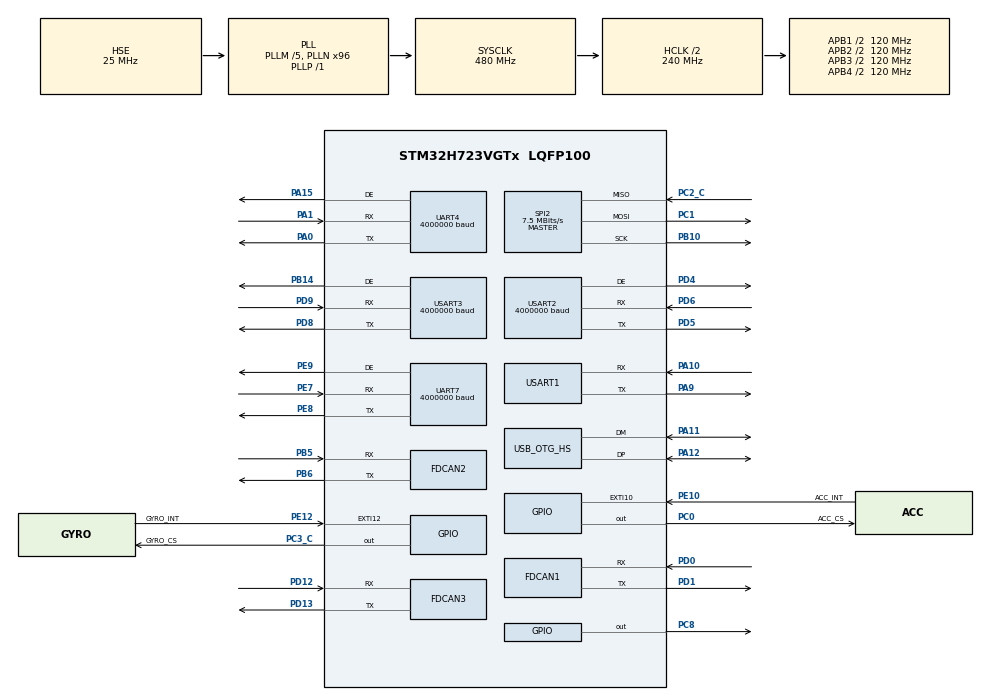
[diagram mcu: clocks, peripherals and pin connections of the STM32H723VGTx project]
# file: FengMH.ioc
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CORTEX_M7.default_mode_Activation=1
Dma.Request0=USART1_RX
Dma.Request1=USART1_TX
Dma.Request2=USART2_RX
Dma.Request3=USART2_TX
Dma.Request4=USART3_RX
Dma.Request5=USART3_TX
Dma.Request6=UART7_RX
Dma.Request7=UART7_TX
Dma.Request8=UART4_RX
Dma.Request9=UART4_TX
Dma.UART4_RX.8.Direction=DMA_PERIPH_TO_MEMORY
Dma.UART4_RX.8.EventEnable=DISABLE
Dma.UART4_RX.8.FIFOMode=DMA_FIFOMODE_DISABLE
Dma.UART4_RX.8.Instance=DMA2_Stream0
Dma.UART4_RX.8.MemDataAlignment=DMA_MDATAALIGN_BYTE
Dma.UART4_RX.8.MemInc=DMA_MINC_ENABLE
Dma.UART4_RX.8.Mode=DMA_NORMAL
Dma.UART4_RX.8.PeriphDataAlignment=DMA_PDATAALIGN_BYTE
Dma.UART4_RX.8.PeriphInc=DMA_PINC_DISABLE
Dma.UART4_RX.8.Polarity=HAL_DMAMUX_REQ_GEN_RISING
Dma.UART4_RX.8.Priority=DMA_PRIORITY_LOW
Dma.UART4_RX.8.RequestNumber=1
Dma.UART4_RX.8.SignalID=NONE
Dma.UART4_RX.8.SyncEnable=DISABLE
Dma.UART4_RX.8.SyncPolarity=HAL_DMAMUX_SYNC_NO_EVENT
Dma.UART4_RX.8.SyncRequestNumber=1
Dma.UART4_RX.8.SyncSignalID=NONE
Dma.UART4_TX.9.Direction=DMA_MEMORY_TO_PERIPH
Dma.UART4_TX.9.EventEnable=DISABLE
Dma.UART4_TX.9.FIFOMode=DMA_FIFOMODE_DISABLE
Dma.UART4_TX.9.Instance=DMA2_Stream1
Dma.UART4_TX.9.MemDataAlignment=DMA_MDATAALIGN_BYTE
Dma.UART4_TX.9.MemInc=DMA_MINC_ENABLE
Dma.UART4_TX.9.Mode=DMA_NORMAL
Dma.UART4_TX.9.PeriphDataAlignment=DMA_PDATAALIGN_BYTE
Dma.UART4_TX.9.PeriphInc=DMA_PINC_DISABLE
Dma.UART4_TX.9.Polarity=HAL_DMAMUX_REQ_GEN_RISING
Dma.UART4_TX.9.Priority=DMA_PRIORITY_LOW
Dma.UART4_TX.9.RequestNumber=1
Dma.UART4_TX.9.SignalID=NONE
Dma.UART4_TX.9.SyncEnable=DISABLE
Dma.UART4_TX.9.SyncPolarity=HAL_DMAMUX_SYNC_NO_EVENT
Dma.UART4_TX.9.SyncRequestNumber=1
Dma.UART4_TX.9.SyncSignalID=NONE
Dma.UART7_RX.6.Direction=DMA_PERIPH_TO_MEMORY
Dma.UART7_RX.6.EventEnable=DISABLE
Dma.UART7_RX.6.FIFOMode=DMA_FIFOMODE_DISABLE
Dma.UART7_RX.6.Instance=DMA1_Stream6
Dma.UART7_RX.6.MemDataAlignment=DMA_MDATAALIGN_BYTE
Dma.UART7_RX.6.MemInc=DMA_MINC_ENABLE
Dma.UART7_RX.6.Mode=DMA_NORMAL
Dma.UART7_RX.6.PeriphDataAlignment=DMA_PDATAALIGN_BYTE
Dma.UART7_RX.6.PeriphInc=DMA_PINC_DISABLE
Dma.UART7_RX.6.Polarity=HAL_DMAMUX_REQ_GEN_RISING
Dma.UART7_RX.6.Priority=DMA_PRIORITY_LOW
Dma.UART7_RX.6.RequestNumber=1
Dma.UART7_RX.6.SignalID=NONE
Dma.UART7_RX.6.SyncEnable=DISABLE
Dma.UART7_RX.6.SyncPolarity=HAL_DMAMUX_SYNC_NO_EVENT
Dma.UART7_RX.6.SyncRequestNumber=1
Dma.UART7_RX.6.SyncSignalID=NONE
Dma.UART7_TX.7.Direction=DMA_MEMORY_TO_PERIPH
Dma.UART7_TX.7.EventEnable=DISABLE
Dma.UART7_TX.7.FIFOMode=DMA_FIFOMODE_DISABLE
Dma.UART7_TX.7.Instance=DMA1_Stream7
Dma.UART7_TX.7.MemDataAlignment=DMA_MDATAALIGN_BYTE
Dma.UART7_TX.7.MemInc=DMA_MINC_ENABLE
Dma.UART7_TX.7.Mode=DMA_NORMAL
Dma.UART7_TX.7.PeriphDataAlignment=DMA_PDATAALIGN_BYTE
Dma.UART7_TX.7.PeriphInc=DMA_PINC_DISABLE
Dma.UART7_TX.7.Polarity=HAL_DMAMUX_REQ_GEN_RISING
Dma.UART7_TX.7.Priority=DMA_PRIORITY_LOW
Dma.UART7_TX.7.RequestNumber=1
Dma.UART7_TX.7.SignalID=NONE
Dma.UART7_TX.7.SyncEnable=DISABLE
Dma.UART7_TX.7.SyncPolarity=HAL_DMAMUX_SYNC_NO_EVENT
Dma.UART7_TX.7.SyncRequestNumber=1
Dma.UART7_TX.7.SyncSignalID=NONE
Dma.USART1_RX.0.Direction=DMA_PERIPH_TO_MEMORY
Dma.USART1_RX.0.EventEnable=DISABLE
Dma.USART1_RX.0.FIFOMode=DMA_FIFOMODE_DISABLE
Dma.USART1_RX.0.Instance=DMA1_Stream0
Dma.USART1_RX.0.MemDataAlignment=DMA_MDATAALIGN_BYTE
Dma.USART1_RX.0.MemInc=DMA_MINC_ENABLE
Dma.USART1_RX.0.Mode=DMA_NORMAL
Dma.USART1_RX.0.PeriphDataAlignment=DMA_PDATAALIGN_BYTE
Dma.USART1_RX.0.PeriphInc=DMA_PINC_DISABLE
Dma.USART1_RX.0.Polarity=HAL_DMAMUX_REQ_GEN_RISING
Dma.USART1_RX.0.Priority=DMA_PRIORITY_LOW
Dma.USART1_RX.0.RequestNumber=1
Dma.USART1_RX.0.SignalID=NONE
Dma.USART1_RX.0.SyncEnable=DISABLE
Dma.USART1_RX.0.SyncPolarity=HAL_DMAMUX_SYNC_NO_EVENT
Dma.USART1_RX.0.SyncRequestNumber=1
Dma.USART1_RX.0.SyncSignalID=NONE
Dma.USART1_TX.1.Direction=DMA_MEMORY_TO_PERIPH
Dma.USART1_TX.1.EventEnable=DISABLE
Dma.USART1_TX.1.FIFOMode=DMA_FIFOMODE_DISABLE
Dma.USART1_TX.1.Instance=DMA1_Stream1
Dma.USART1_TX.1.MemDataAlignment=DMA_MDATAALIGN_BYTE
Dma.USART1_TX.1.MemInc=DMA_MINC_ENABLE
Dma.USART1_TX.1.Mode=DMA_NORMAL
Dma.USART1_TX.1.PeriphDataAlignment=DMA_PDATAALIGN_BYTE
Dma.USART1_TX.1.PeriphInc=DMA_PINC_DISABLE
Dma.USART1_TX.1.Polarity=HAL_DMAMUX_REQ_GEN_RISING
Dma.USART1_TX.1.Priority=DMA_PRIORITY_LOW
Dma.USART1_TX.1.RequestNumber=1
Dma.USART1_TX.1.SignalID=NONE
Dma.USART1_TX.1.SyncEnable=DISABLE
Dma.USART1_TX.1.SyncPolarity=HAL_DMAMUX_SYNC_NO_EVENT
Dma.USART1_TX.1.SyncRequestNumber=1
Dma.USART1_TX.1.SyncSignalID=NONE
Dma.USART2_RX.2.Direction=DMA_PERIPH_TO_MEMORY
Dma.USART2_RX.2.EventEnable=DISABLE
Dma.USART2_RX.2.FIFOMode=DMA_FIFOMODE_DISABLE
Dma.USART2_RX.2.Instance=DMA1_Stream2
Dma.USART2_RX.2.MemDataAlignment=DMA_MDATAALIGN_BYTE
Dma.USART2_RX.2.MemInc=DMA_MINC_ENABLE
Dma.USART2_RX.2.Mode=DMA_NORMAL
Dma.USART2_RX.2.PeriphDataAlignment=DMA_PDATAALIGN_BYTE
Dma.USART2_RX.2.PeriphInc=DMA_PINC_DISABLE
Dma.USART2_RX.2.Polarity=HAL_DMAMUX_REQ_GEN_RISING
Dma.USART2_RX.2.Priority=DMA_PRIORITY_LOW
Dma.USART2_RX.2.RequestNumber=1
Dma.USART2_RX.2.SignalID=NONE
Dma.USART2_RX.2.SyncEnable=DISABLE
Dma.USART2_RX.2.SyncPolarity=HAL_DMAMUX_SYNC_NO_EVENT
Dma.USART2_RX.2.SyncRequestNumber=1
Dma.USART2_RX.2.SyncSignalID=NONE
Dma.USART2_TX.3.Direction=DMA_MEMORY_TO_PERIPH
Dma.USART2_TX.3.EventEnable=DISABLE
Dma.USART2_TX.3.FIFOMode=DMA_FIFOMODE_DISABLE
Dma.USART2_TX.3.Instance=DMA1_Stream3
Dma.USART2_TX.3.MemDataAlignment=DMA_MDATAALIGN_BYTE
Dma.USART2_TX.3.MemInc=DMA_MINC_ENABLE
Dma.USART2_TX.3.Mode=DMA_NORMAL
Dma.USART2_TX.3.PeriphDataAlignment=DMA_PDATAALIGN_BYTE
Dma.USART2_TX.3.PeriphInc=DMA_PINC_DISABLE
Dma.USART2_TX.3.Polarity=HAL_DMAMUX_REQ_GEN_RISING
Dma.USART2_TX.3.Priority=DMA_PRIORITY_LOW
Dma.USART2_TX.3.RequestNumber=1
Dma.USART2_TX.3.SignalID=NONE
Dma.USART2_TX.3.SyncEnable=DISABLE
Dma.USART2_TX.3.SyncPolarity=HAL_DMAMUX_SYNC_NO_EVENT
Dma.USART2_TX.3.SyncRequestNumber=1
Dma.USART2_TX.3.SyncSignalID=NONE
Dma.USART3_RX.4.Direction=DMA_PERIPH_TO_MEMORY
Dma.USART3_RX.4.EventEnable=DISABLE
Dma.USART3_RX.4.FIFOMode=DMA_FIFOMODE_DISABLE
Dma.USART3_RX.4.Instance=DMA1_Stream4
Dma.USART3_RX.4.MemDataAlignment=DMA_MDATAALIGN_BYTE
Dma.USART3_RX.4.MemInc=DMA_MINC_ENABLE
Dma.USART3_RX.4.Mode=DMA_NORMAL
Dma.USART3_RX.4.PeriphDataAlignment=DMA_PDATAALIGN_BYTE
Dma.USART3_RX.4.PeriphInc=DMA_PINC_DISABLE
Dma.USART3_RX.4.Polarity=HAL_DMAMUX_REQ_GEN_RISING
Dma.USART3_RX.4.Priority=DMA_PRIORITY_LOW
Dma.USART3_RX.4.RequestNumber=1
Dma.USART3_RX.4.SignalID=NONE
Dma.USART3_RX.4.SyncEnable=DISABLE
Dma.USART3_RX.4.SyncPolarity=HAL_DMAMUX_SYNC_NO_EVENT
Dma.USART3_RX.4.SyncRequestNumber=1
Dma.USART3_RX.4.SyncSignalID=NONE
Dma.USART3_TX.5.Direction=DMA_MEMORY_TO_PERIPH
Dma.USART3_TX.5.EventEnable=DISABLE
Dma.USART3_TX.5.FIFOMode=DMA_FIFOMODE_DISABLE
Dma.USART3_TX.5.Instance=DMA1_Stream5
Dma.USART3_TX.5.MemDataAlignment=DMA_MDATAALIGN_BYTE
Dma.USART3_TX.5.MemInc=DMA_MINC_ENABLE
Dma.USART3_TX.5.Mode=DMA_NORMAL
Dma.USART3_TX.5.PeriphDataAlignment=DMA_PDATAALIGN_BYTE
Dma.USART3_TX.5.PeriphInc=DMA_PINC_DISABLE
Dma.USART3_TX.5.Polarity=HAL_DMAMUX_REQ_GEN_RISING
Dma.USART3_TX.5.Priority=DMA_PRIORITY_LOW
Dma.USART3_TX.5.RequestNumber=1
Dma.USART3_TX.5.SignalID=NONE
Dma.USART3_TX.5.SyncEnable=DISABLE
Dma.USART3_TX.5.SyncPolarity=HAL_DMAMUX_SYNC_NO_EVENT
Dma.USART3_TX.5.SyncRequestNumber=1
Dma.USART3_TX.5.SyncSignalID=NONE
FDCAN1.CalculateBaudRateNominal=1000000
FDCAN1.CalculateTimeBitNominal=1000
FDCAN1.CalculateTimeQuantumNominal=25.0
FDCAN1.DataPrescaler=3
FDCAN1.DataSyncJumpWidth=10
FDCAN1.DataTimeSeg1=29
FDCAN1.DataTimeSeg2=10
FDCAN1.ExtFiltersNbr=0
FDCAN1.NominalPrescaler=3
FDCAN1.NominalSyncJumpWidth=10
FDCAN1.NominalTimeSeg1=29
FDCAN1.NominalTimeSeg2=10
FDCAN1.ProtocolException=ENABLE
FDCAN1.RxFifo0ElmtsNbr=4
FDCAN1.StdFiltersNbr=1
FDCAN1.TxFifoQueueElmtsNbr=4
FDCAN2.CalculateBaudRateNominal=1000000
FDCAN2.CalculateTimeBitNominal=1000
FDCAN2.CalculateTimeQuantumNominal=25.0
FDCAN2.DataPrescaler=3
FDCAN2.DataSyncJumpWidth=10
FDCAN2.DataTimeSeg1=29
FDCAN2.DataTimeSeg2=10
FDCAN2.NominalPrescaler=3
FDCAN2.NominalSyncJumpWidth=10
FDCAN2.NominalTimeSeg1=29
FDCAN2.NominalTimeSeg2=10
FDCAN2.ProtocolException=ENABLE
FDCAN2.RxFifo0ElmtsNbr=4
FDCAN2.StdFiltersNbr=1
FDCAN2.TxFifoQueueElmtsNbr=4
FDCAN3.CalculateBaudRateNominal=1000000
FDCAN3.CalculateTimeBitNominal=1000
FDCAN3.CalculateTimeQuantumNominal=25.0
FDCAN3.DataPrescaler=3
FDCAN3.DataSyncJumpWidth=10
FDCAN3.DataTimeSeg1=29
FDCAN3.DataTimeSeg2=10
FDCAN3.NominalPrescaler=3
FDCAN3.NominalSyncJumpWidth=10
FDCAN3.NominalTimeSeg1=29
FDCAN3.NominalTimeSeg2=10
FDCAN3.RxFifo0ElmtsNbr=4
FDCAN3.StdFiltersNbr=1
FDCAN3.TxFifoQueueElmtsNbr=4
FREERTOS.Tasks01=defaultTask,24,1024,StartDefaultTask,Default,NULL,Dynamic,NULL,NULL
FREERTOS.configTOTAL_HEAP_SIZE=65536
FREERTOS.configUSE_NEWLIB_REENTRANT=1
Mcu.Family=STM32H7
Mcu.Name=STM32H723VGTx
Mcu.Package=LQFP100
NVIC.DMA1_Stream0_IRQn=true\:5\:0\:false\:false\:true\:true\:false\:true\:true
NVIC.DMA1_Stream1_IRQn=true\:5\:0\:false\:false\:true\:true\:false\:true\:true
NVIC.DMA1_Stream2_IRQn=true\:5\:0\:false\:false\:true\:true\:false\:true\:true
NVIC.DMA1_Stream3_IRQn=true\:5\:0\:false\:false\:true\:true\:false\:true\:true
NVIC.DMA1_Stream4_IRQn=true\:5\:0\:false\:false\:true\:true\:false\:true\:true
NVIC.DMA1_Stream5_IRQn=true\:5\:0\:false\:false\:true\:true\:false\:true\:true
NVIC.DMA1_Stream6_IRQn=true\:5\:0\:false\:false\:true\:true\:false\:true\:true
NVIC.DMA1_Stream7_IRQn=true\:5\:0\:false\:false\:true\:true\:false\:true\:true
NVIC.DMA2_Stream0_IRQn=true\:5\:0\:false\:false\:true\:true\:false\:true\:true
NVIC.DMA2_Stream1_IRQn=true\:5\:0\:false\:false\:true\:true\:false\:true\:true
NVIC.FDCAN1_IT0_IRQn=true\:5\:0\:false\:false\:true\:true\:true\:true\:true
NVIC.FDCAN2_IT0_IRQn=true\:5\:0\:false\:false\:true\:true\:true\:true\:true
NVIC.OTG_HS_IRQn=true\:5\:0\:false\:false\:true\:true\:false\:true\:true
NVIC.PriorityGroup=NVIC_PRIORITYGROUP_4
NVIC.TIM1_UP_IRQn=true\:15\:0\:false\:false\:true\:false\:false\:true\:true
NVIC.TimeBase=TIM1_UP_IRQn
NVIC.TimeBaseIP=TIM1
NVIC.UART4_IRQn=true\:5\:0\:false\:false\:true\:true\:true\:true\:true
NVIC.UART7_IRQn=true\:5\:0\:false\:false\:true\:true\:true\:true\:true
NVIC.USART1_IRQn=true\:5\:0\:false\:false\:true\:true\:true\:true\:true
NVIC.USART2_IRQn=true\:5\:0\:false\:false\:true\:true\:true\:true\:true
NVIC.USART3_IRQn=true\:5\:0\:false\:false\:true\:true\:true\:true\:true
PA0.Mode=Asynchronous
PA0.Signal=UART4_TX
PA1.Mode=Asynchronous
PA1.Signal=UART4_RX
PA10.Mode=Asynchronous
PA10.Signal=USART1_RX
PA11.Mode=Device_Only_FS
PA11.Signal=USB_OTG_HS_DM
PA12.Mode=Device_Only_FS
PA12.Signal=USB_OTG_HS_DP
PA13(JTMS/SWDIO).Signal=DEBUG_JTMS-SWDIO
PA14(JTCK/SWCLK).Signal=DEBUG_JTCK-SWCLK
PA15(JTDI).Mode=Hardware Flow Control (RS485)
PA15(JTDI).Signal=UART4_DE
PA9.Mode=Asynchronous
PA9.Signal=USART1_TX
PB10.GPIO_Speed=GPIO_SPEED_FREQ_VERY_HIGH
PB10.Mode=Full_Duplex_Master
PB10.Signal=SPI2_SCK
PB14.Mode=Hardware Flow Control (RS485)
PB14.Signal=USART3_DE
PB5.Mode=FDCAN_Activate
PB5.Signal=FDCAN2_RX
PB6.Mode=FDCAN_Activate
PB6.Signal=FDCAN2_TX
PC0.GPIO_Label=ACC_CS
PC0.GPIO_Speed=GPIO_SPEED_FREQ_VERY_HIGH
PC0.PinState=GPIO_PIN_SET
PC0.Signal=GPIO_Output
PC1.GPIO_Speed=GPIO_SPEED_FREQ_VERY_HIGH
PC1.Mode=Full_Duplex_Master
PC1.Signal=SPI2_MOSI
PC2_C.GPIO_Speed=GPIO_SPEED_FREQ_VERY_HIGH
PC2_C.Mode=Full_Duplex_Master
PC2_C.Signal=SPI2_MISO
PC3_C.GPIO_Label=GYRO_CS
PC3_C.GPIO_Speed=GPIO_SPEED_FREQ_VERY_HIGH
PC3_C.PinState=GPIO_PIN_SET
PC3_C.Signal=GPIO_Output
PC8.GPIO_PuPd=GPIO_PULLDOWN
PC8.Signal=GPIO_Output
PD0.Mode=FDCAN_Activate
PD0.Signal=FDCAN1_RX
PD1.Mode=FDCAN_Activate
PD1.Signal=FDCAN1_TX
PD12.Mode=FDCAN_Activate
PD12.Signal=FDCAN3_RX
PD13.Mode=FDCAN_Activate
PD13.Signal=FDCAN3_TX
PD4.Mode=Hardware Flow Control (RS485)
PD4.Signal=USART2_DE
PD5.Mode=Asynchronous
PD5.Signal=USART2_TX
PD6.Mode=Asynchronous
PD6.Signal=USART2_RX
PD8.Mode=Asynchronous
PD8.Signal=USART3_TX
PD9.Mode=Asynchronous
PD9.Signal=USART3_RX
PE10.GPIO_Label=ACC_INT
PE10.Signal=GPXTI10
PE12.GPIO_Label=GYRO_INT
PE12.Signal=GPXTI12
PE7.Mode=Asynchronous
PE7.Signal=UART7_RX
PE8.Mode=Asynchronous
PE8.Signal=UART7_TX
PE9.Mode=Hardware Flow Control (RS485)
PE9.Signal=UART7_DE
PH0-OSC_IN.Mode=HSE-External-Oscillator
PH0-OSC_IN.Signal=RCC_OSC_IN
PH1-OSC_OUT.Mode=HSE-External-Oscillator
PH1-OSC_OUT.Signal=RCC_OSC_OUT
ProjectManager.HeapSize=0x200
ProjectManager.StackSize=0x400
ProjectManager.TargetToolchain=STM32CubeIDE
RCC.ADCFreq_Value=100000000
RCC.APB1Freq_Value=120000000
RCC.APB2Freq_Value=120000000
RCC.APB3Freq_Value=120000000
RCC.APB4Freq_Value=120000000
RCC.CortexFreq_Value=480000000
RCC.D1PPRE=RCC_APB3_DIV2
RCC.D2PPRE1=RCC_APB1_DIV2
RCC.D2PPRE2=RCC_APB2_DIV2
RCC.D3PPRE=RCC_APB4_DIV2
RCC.DIVM1=5
RCC.DIVM2=25
RCC.DIVM3=25
RCC.DIVN1=96
RCC.DIVN2=200
RCC.DIVN3=100
RCC.DIVP1=1
RCC.DIVQ1=4
RCC.HCLKFreq_Value=240000000
RCC.HPRE=RCC_HCLK_DIV2
RCC.HSE_VALUE=25000000
RCC.PLL1_VCI_Range-AdvancedSettings=RCC_PLL1VCIRANGE_2
RCC.PLL2FRACN=0
RCC.PLL2_VCI_Range-AdvancedSettings=RCC_PLL2VCIRANGE_0
RCC.PLL3FRACN=0
RCC.PLL3_VCI_Range-AdvancedSettings=RCC_PLL3VCIRANGE_0
RCC.PLLFRACN=0
RCC.PLLSourceVirtual=RCC_PLLSOURCE_HSE
RCC.SYSCLKFreq_VALUE=480000000
RCC.SYSCLKSource=RCC_SYSCLKSOURCE_PLLCLK
RCC.USBCLockSelection=RCC_USBCLKSOURCE_HSI48
RCC.USBFreq_Value=48000000
SPI2.BaudRatePrescaler=SPI_BAUDRATEPRESCALER_16
SPI2.CLKPhase=SPI_PHASE_1EDGE
SPI2.CLKPolarity=SPI_POLARITY_LOW
SPI2.CalculateBaudRate=7.5 MBits/s
SPI2.DataSize=SPI_DATASIZE_8BIT
SPI2.Direction=SPI_DIRECTION_2LINES
SPI2.Mode=SPI_MODE_MASTER
SPI2.VirtualType=VM_MASTER
STMicroelectronics.X-CUBE-ALGOBUILD.1.4.0.LibraryCcDSPOoLibraryJjDSPOoLibrary=true
TIM2.AutoReloadPreload=TIM_AUTORELOAD_PRELOAD_ENABLE
TIM2.Period=99
TIM2.Prescaler=11999
UART4.BaudRate=4000000
UART7.BaudRate=4000000
USART1.VirtualMode-Asynchronous=VM_ASYNC
USART2.BaudRate=4000000
USART2.VirtualMode-Asynchronous=VM_ASYNC
USART2.VirtualMode-Hardware\ Flow\ Control\ (RS485)=VM_ASYNC
USART3.BaudRate=4000000
USART3.VirtualMode-Asynchronous=VM_ASYNC
USART3.VirtualMode-Hardware\ Flow\ Control\ (RS485)=VM_ASYNC
USB_DEVICE.CLASS_NAME_HS=CDC
USB_DEVICE.VirtualMode=Cdc
USB_DEVICE.VirtualModeHS=Cdc_HS
USB_OTG_HS.VirtualMode-Device_Only_FS=Device_Only_FS
VP_FREERTOS_VS_CMSIS_V2.Mode=CMSIS_V2
VP_MEMORYMAP_VS_MEMORYMAP.Mode=CurAppReg
VP_STMicroelectronics.X-CUBE-ALGOBUILD_VS_DSPOoLibraryJjLibrary_1.4.0_1.4.0.Mode=DSPOoLibraryJjLibrary
VP_SYS_VS_tim1.Mode=TIM1
VP_TIM2_VS_ClockSourceINT.Mode=Internal
VP_USB_DEVICE_VS_USB_DEVICE_CDC_HS.Mode=CDC_HS
board=custom

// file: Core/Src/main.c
/* USER CODE BEGIN Header */
/**
  ******************************************************************************
  * @file           : main.c
  * @brief          : Main program body
  ******************************************************************************
  * @attention
  *
  * Copyright (c) 2026 STMicroelectronics.
  * All rights reserved.
  *
  * This software is licensed under terms that can be found in the LICENSE file
  * in the root directory of this software component.
  * If no LICENSE file comes with this software, it is provided AS-IS.
  *
  ******************************************************************************
  */
/* USER CODE END Header */
#include "main.h"
#include "cmsis_os.h"
#include "dma.h"
#include "fdcan.h"
#include "spi.h"
#include "tim.h"
#include "usart.h"
#include "usb_device.h"
#include "gpio.h"

/* USER CODE BEGIN Includes */
/*
 * M3 重构说明：旧 main.c 的"业务初始化 + while(1) 死程序步态"已迁移到 App/。
 *   - 想完全恢复旧行为：编译时定义 USE_LEGACY_MAIN=1
 *   - 默认 USE_LEGACY_MAIN=0：旧 PID/GO/M3508 代码不参与启动，避免与
 *     App 层 RTOS 任务竞写电机；启动后由 freertos.c 调用 app_init() + app_tasks_create()，
 *     脱机时跑 SCRIPT_BUILTIN_STAND_HOLD（详见 App/app/task_chassis.c）。
 *   - 想跑旧"抬腿循环"等死程序步态：用 task_chassis_play_script(&SCRIPT_BUILTIN_WAVE_UP_DOWN, 0.3f)，
 *     不要再回头改 main.c。
 */
#ifndef USE_LEGACY_MAIN
#define USE_LEGACY_MAIN 0
#endif

/*
 * USART1 on PA9/PA10 was a generated debug UART placeholder and is not used by
 * the App control path. Keep it off by default so PA9 remains available for the
 * migrated pump/valve GPIO from the arm project.
 */
#ifndef APP_ENABLE_UNUSED_USART1
#define APP_ENABLE_UNUSED_USART1 0
#endif

#if USE_LEGACY_MAIN
#include "GO-motor.h"
#include "gait_plan.h"
#include <string.h>
#include "3508_motor.h"
#else
#include "app_init.h"
#include "config.h"
#endif
/* USER CODE END Includes */

/* USER CODE BEGIN PTD */
#if USE_LEGACY_MAIN
//8010电机所需结构体
static MotorBack Motor_r;
static MotorInstance motor_instance[MOTOR_NUM];//4路485线，我就记作每组3个电机，从&huart1到&huart4电机依次从【0】到【11】，id与huart的对应办法是（id+3）/3就行
int idx;//转存MotorInstance motor_instance[MOTOR_NUM]专用的整数变量
MotorCmd GO1;//结构体变量，一个用于中转的宇树8010命令的结构体

//M3508电机所需结构体
extern Motor_3508_T Motors[4];

//步态参数
gait_action Gait;

//用于描述腿的机械参数的结构体
leg_size leg;

//人工打点
vector up_down[9];

//电机上电时角度
float GO_begin[12];
#endif
/* USER CODE END PTD */

void SystemClock_Config(void);
static void MPU_Config(void);
void MX_FREERTOS_Init(void);

/* USER CODE BEGIN 0 */
#if USE_LEGACY_MAIN
//发送完毕的回调函数
void HAL_UART_TxCpltCallback(UART_HandleTypeDef *huart){
	// 启动DMA接收
    HAL_UART_Receive_DMA(huart, (uint8_t*)&Motor_r.motor_back_data, 16);
}

//接收完毕的回调函数。准备写一个将接收的数据进行归类排布的函数，转存完就清空全局缓存区，11.30号，暂无此函数。12.3号，转存函数已经是写完了，就看测试效果了；效果测试不错。
void HAL_UART_RxCpltCallback(UART_HandleTypeDef *huart){
	extract_data(&Motor_r);
	idx = ((int)Motor_r.motor_id);
	if (Motor_r.correct && idx >= 0 && idx < MOTOR_NUM) {
		MotorInstance_Update(&motor_instance[idx], Motor_r.T, Motor_r.W, Motor_r.Pos);
	}

	memset(&Motor_r, 0, sizeof(MotorBack));
}

//3508电机的can收发回调函数
void HAL_FDCAN_RxFifo0Callback(FDCAN_HandleTypeDef *hfdcan, uint32_t RxFifo0ITs)
{
    FDCAN_RxHeaderTypeDef RxHeader;
    uint8_t RxData[8];

    if ((RxFifo0ITs & FDCAN_IT_RX_FIFO0_NEW_MESSAGE) != 0) {
        // 必须使用 while 循环将 FIFO 彻底读空，防止多电机并发导致丢帧
        while (HAL_FDCAN_GetRxFifoFillLevel(hfdcan, FDCAN_RX_FIFO0) > 0) {
            if (HAL_FDCAN_GetRxMessage(hfdcan, FDCAN_RX_FIFO0, &RxHeader, RxData) == HAL_OK) {

                // FDCAN1：接收 3508 的电机 1、2
                if (hfdcan->Instance == FDCAN1) {
                    D3508_Decode(RxData, (uint16_t)RxHeader.Identifier);
                }
                // FDCAN2：接收 3508 的电机 3、4
                else if (hfdcan->Instance == FDCAN2) {
                    D3508_Decode(RxData, (uint16_t)RxHeader.Identifier);
                }
            }
        }
    }
}

void Init_up_down(vector *so){
	so[0].data[0] = 0;
	so[0].data[2] = 0;

	so[1].data[0] = 0;
	so[1].data[2] = 0.01;

	so[2].data[0] = 0;
	so[2].data[2] = 0.03;

	so[3].data[0] = 0;
	so[3].data[2] = 0.04;

	so[4].data[0] = 0;
	so[4].data[2] = 0.05;

	so[5].data[0] = 0;
	so[5].data[2] = 0.04;

	so[6].data[0] = 0;
	so[6].data[2] = 0.03;

	so[7].data[0] = 0;
	so[7].data[2] = 0.01;

	so[8].data[0] = 0;
	so[8].data[2] = 0;
}
#endif /* USE_LEGACY_MAIN */
/* USER CODE END 0 */

int main(void)
{

  /* MPU Configuration--------------------------------------------------------*/
  MPU_Config();

  /* MCU Configuration--------------------------------------------------------*/

  /* Reset of all peripherals, Initializes the Flash interface and the Systick. */
  HAL_Init();

  /* Configure the system clock */
  SystemClock_Config();

  /* Initialize all configured peripherals */
  MX_GPIO_Init();
  MX_DMA_Init();
#if APP_ENABLE_UNUSED_USART1
  MX_USART1_UART_Init();
#endif
#if APP_CHASSIS_ENABLE
  MX_USART2_UART_Init();
  MX_USART3_UART_Init();
  MX_FDCAN1_Init();
  MX_FDCAN2_Init();
  MX_SPI2_Init();
  MX_TIM2_Init();
  MX_UART7_Init();
  MX_UART4_Init();
#endif
  MX_FDCAN3_Init();
  /* USER CODE BEGIN 2 */
#if USE_LEGACY_MAIN
//  PID_M3508_CAN_Init();
  //初始化宇树电机的回传数据，现在是只开了usart2，自己用的时候要用其他串口记得自己进函数里开；
  for(int i = 0; i < 12; i ++){
	  MotorInstance_Init(&motor_instance[i], i);
  }

  //初始化M3508电机数据
  FDCAN1_Filter_Init();
  FDCAN2_Filter_Init();
  D3508_Init();

  //启动定时器中断
  HAL_TIM_Base_Start_IT(&htim2);
  Init_up_down(up_down);

  //初始化狗腿参数,测试时必定修改
  params_init(&leg, 0.1f, 0.15f, 0.04f,
  -PI, 0.0f, -0.75 * PI, 0.0f, 0.095f,
  0.042f, 0.012f,0.09f, 0.008f, 0.55f,
  0.051f, 0.05f, 0.056f, 0.01f, 9.8f);
//
//  //初始化步态数据
//  gait_action_init( &Gait, 0.035, 0.5, 2, 20);
//
//  //计算步态点位
//  compete_gait( &Gait);
  //计算必要角度
  vector ang_ori[9];
  vector ang_mir[9];
  for (int i = 0; i < 9; i++)
  {
      for (int j = 0; j < 3; j++)
      {
          ang_ori[i].data[j] = 0.0f;
      }
      for (int j = 0; j < 3; j++)
      {
          ang_mir[i].data[j] = 0.0f;
      }
  }

  for(int i = 0; i < 9; i++){
	  inverse_kinematics_position(&leg, &up_down[i], &ang_ori[i], -0.20, LEG_TYPE_ORIGINAL);
  }
  for(int i = 0; i < 9; i++){
	  inverse_kinematics_position(&leg, &up_down[i], &ang_mir[i], -0.20, LEG_TYPE_MIRROR);
  }
  HAL_Delay(3000);

  int t = 0;

  for(int n = 0; n < 12; n++){
	  MotorController_SetCommand(&GO1, n, 1, 0, 0, 0, 0, 0);
	  MotorController_SendCommand(&huart3, &GO1);
	  HAL_Delay(1);
	  GO_begin[n] = motor_instance[n].now_Pos;
  }
  for(int n = 0; n < 12; n++){
	  MotorController_SetCommand(&GO1, n, 1, 0, 0, 0, 0, 0);
	  MotorController_SendCommand(&huart2, &GO1);
	  HAL_Delay(1);
	  GO_begin[n] = motor_instance[n].now_Pos;
  }

  //原地站立

  MotorController_SetCommand(&GO1, 0, 1, 0, 0, GO_begin[0] + (ang_mir[0].data[1] * 6.33), 1.5, 0.12);
  MotorController_SendCommand(&huart3, &GO1);

  MotorController_SetCommand(&GO1, 1, 1, 0, 0, GO_begin[1] - ((ang_mir[0].data[2] + (0.75 * Pi)) * 6.33), 2.5, 0.2);
  MotorController_SendCommand(&huart3, &GO1);

  MotorController_SetCommand(&GO1, 6, 1, 0, 0, GO_begin[6] + (ang_mir[0].data[1] * 6.33), 1.5, 0.12);
  MotorController_SendCommand(&huart3, &GO1);

  MotorController_SetCommand(&GO1, 7, 1, 0, 0, GO_begin[7] - ((ang_mir[0].data[2] + (0.75 * Pi)) * 6.33), 2.5, 0.2);
  MotorController_SendCommand(&huart3, &GO1);

  MotorController_SetCommand(&GO1, 3, 1, 0, 0, GO_begin[3] + ((ang_ori[0].data[1] + Pi) * 6.33), 1.5, 0.12);
  MotorController_SendCommand(&huart2, &GO1);

  MotorController_SetCommand(&GO1, 4, 1, 0, 0, GO_begin[4] - ((0.25 * Pi + ang_ori[0].data[2]) * 6.33), 2.5, 0.2);
  MotorController_SendCommand(&huart2, &GO1);

  MotorController_SetCommand(&GO1, 9, 1, 0, 0, GO_begin[9] + ((ang_ori[0].data[1] + Pi) * 6.33), 1.5, 0.12);
  MotorController_SendCommand(&huart2, &GO1);

  MotorController_SetCommand(&GO1, 10, 1, 0, 0, GO_begin[10] - ((0.25 * Pi + ang_ori[0].data[2]) * 6.33), 2.5, 0.2);
  MotorController_SendCommand(&huart2, &GO1);

  HAL_Delay(2000);
#endif /* USE_LEGACY_MAIN */
#if !USE_LEGACY_MAIN
  /*
   * app_init() touches HAL timeouts/delays (for example BMI088 init), so run
   * it before osKernelInitialize() raises BASEPRI and masks the HAL TIM1 tick.
   */
  (void)app_init();

  /* USER CODE END 2 */

  /* Init scheduler */
  osKernelInitialize();  /* Call init function for freertos objects (in cmsis_os2.c) */
  MX_FREERTOS_Init();

  /* Start scheduler */
  osKernelStart();

  /* We should never get here as control is now taken by the scheduler */

  /* Infinite loop */
  /* USER CODE BEGIN WHILE */
#endif /* USE_LEGACY_MAIN */
  while (1)
  {
#if USE_LEGACY_MAIN
	  if(t <= 27){

		  MotorController_SetCommand(&GO1, 0, 1, 0, 0, GO_begin[0] + (ang_mir[t % 7].data[1] * 6.33), 1.5, 0.12);
		  MotorController_SendCommand(&huart3, &GO1);

		  MotorController_SetCommand(&GO1, 1, 1, 0, 0, GO_begin[1] - ((ang_mir[t % 7].data[2] + (0.75 * Pi)) * 6.33), 2.5, 0.2);
		  MotorController_SendCommand(&huart3, &GO1);

		  MotorController_SetCommand(&GO1, 6, 1, 0, 0, GO_begin[6] + (ang_mir[t % 7].data[1] * 6.33), 1.5, 0.12);
		  MotorController_SendCommand(&huart3, &GO1);

		  MotorController_SetCommand(&GO1, 7, 1, 0, 0, GO_begin[7] - ((ang_mir[t % 7].data[2] + (0.75 * Pi)) * 6.33), 2.5, 0.2);
		  MotorController_SendCommand(&huart3, &GO1);

		  HAL_Delay(100);
	  }

	  if(t >= 5 && t <= 32){

		  MotorController_SetCommand(&GO1, 3, 1, 0, 0, GO_begin[3] + ((ang_ori[(t - 5) % 7].data[1] + Pi) * 6.33), 1.5, 0.12);
		  MotorController_SendCommand(&huart2, &GO1);

		  MotorController_SetCommand(&GO1, 4, 1, 0, 0, GO_begin[4] - ((0.25 * Pi + ang_ori[(t - 5) % 7].data[2]) * 6.33), 2.5, 0.2);
		  MotorController_SendCommand(&huart2, &GO1);

		  MotorController_SetCommand(&GO1, 9, 1, 0, 0, GO_begin[9] + ((ang_ori[(t - 5) % 7].data[1] + Pi) * 6.33), 1.5, 0.12);
		  MotorController_SendCommand(&huart2, &GO1);

		  MotorController_SetCommand(&GO1, 10, 1, 0, 0, GO_begin[10] - ((0.25 * Pi + ang_ori[(t - 5) % 7].data[2]) * 6.33), 2.5, 0.2);
		  MotorController_SendCommand(&huart2, &GO1);
//		  HAL_Delay(100);
	  }

	  if(t >= 27 && t <= 32){
		  HAL_Delay(100);
	  }

	  if(t > 500 && t <= 2000){

      PID_Calc_SetSpeed(0, 450);
      PID_Calc_SetSpeed(1, 450);

      HAL_Delay(1);
	  }
	  if(t > 10000){

      PID_Calc_SetSpeed(0, 0);
      PID_Calc_SetSpeed(1, 0);

		  HAL_Delay(1);
	  }
	  t += 1;//简易定时器
#endif /* USE_LEGACY_MAIN */
    /* USER CODE END WHILE */

  }
}

void SystemClock_Config(void)
{
  RCC_OscInitTypeDef RCC_OscInitStruct = {0};
  RCC_ClkInitTypeDef RCC_ClkInitStruct = {0};

  /** Supply configuration update enable
  */
  HAL_PWREx_ConfigSupply(PWR_LDO_SUPPLY);

  /** Configure the main internal regulator output voltage
  */
  __HAL_PWR_VOLTAGESCALING_CONFIG(PWR_REGULATOR_VOLTAGE_SCALE0);

  while(!__HAL_PWR_GET_FLAG(PWR_FLAG_VOSRDY)) {}

  /** Initializes the RCC Oscillators according to the specified parameters
  * in the RCC_OscInitTypeDef structure.
  */
  RCC_OscInitStruct.OscillatorType = RCC_OSCILLATORTYPE_HSI48|RCC_OSCILLATORTYPE_HSE;
  RCC_OscInitStruct.HSEState = RCC_HSE_ON;
  RCC_OscInitStruct.HSI48State = RCC_HSI48_ON;
  RCC_OscInitStruct.PLL.PLLState = RCC_PLL_ON;
  RCC_OscInitStruct.PLL.PLLSource = RCC_PLLSOURCE_HSE;
  RCC_OscInitStruct.PLL.PLLM = 5;
  RCC_OscInitStruct.PLL.PLLN = 96;
  RCC_OscInitStruct.PLL.PLLP = 1;
  RCC_OscInitStruct.PLL.PLLQ = 4;
  RCC_OscInitStruct.PLL.PLLR = 2;
  RCC_OscInitStruct.PLL.PLLRGE = RCC_PLL1VCIRANGE_2;
  RCC_OscInitStruct.PLL.PLLVCOSEL = RCC_PLL1VCOWIDE;
  RCC_OscInitStruct.PLL.PLLFRACN = 0;
  if (HAL_RCC_OscConfig(&RCC_OscInitStruct) != HAL_OK)
  {
    Error_Handler();
  }

  /** Initializes the CPU, AHB and APB buses clocks
  */
  RCC_ClkInitStruct.ClockType = RCC_CLOCKTYPE_HCLK|RCC_CLOCKTYPE_SYSCLK
                              |RCC_CLOCKTYPE_PCLK1|RCC_CLOCKTYPE_PCLK2
                              |RCC_CLOCKTYPE_D3PCLK1|RCC_CLOCKTYPE_D1PCLK1;
  RCC_ClkInitStruct.SYSCLKSource = RCC_SYSCLKSOURCE_PLLCLK;
  RCC_ClkInitStruct.SYSCLKDivider = RCC_SYSCLK_DIV1;
  RCC_ClkInitStruct.AHBCLKDivider = RCC_HCLK_DIV2;
  RCC_ClkInitStruct.APB3CLKDivider = RCC_APB3_DIV2;
  RCC_ClkInitStruct.APB1CLKDivider = RCC_APB1_DIV2;
  RCC_ClkInitStruct.APB2CLKDivider = RCC_APB2_DIV2;
  RCC_ClkInitStruct.APB4CLKDivider = RCC_APB4_DIV2;

  if (HAL_RCC_ClockConfig(&RCC_ClkInitStruct, FLASH_LATENCY_3) != HAL_OK)
  {
    Error_Handler();
  }
}

/* USER CODE BEGIN 4 */

/*
 * HAL 回调桥接：将 FDCAN / UART 中步回调转发给 App 层 BSP。
 * 当 USE_LEGACY_MAIN=0 时，旧代码的回调不再注册，
 * 新架构通过 bsp_fdcan / bsp_uart 接收数据。
 */
#if !USE_LEGACY_MAIN

/* FDCAN RX 回调 → bsp_fdcan */
extern void bsp_fdcan_hal_rxfifo0_cb(FDCAN_HandleTypeDef *hfdcan, uint32_t RxFifo0ITs);
void HAL_FDCAN_RxFifo0Callback(FDCAN_HandleTypeDef *hfdcan, uint32_t RxFifo0ITs) {
    bsp_fdcan_hal_rxfifo0_cb(hfdcan, RxFifo0ITs);
}

/* FDCAN 错误状态回调 → bsp_fdcan（Bus Off 自动恢复 + 错误计数） */
extern void bsp_fdcan_hal_error_cb(FDCAN_HandleTypeDef *hfdcan, uint32_t ErrorStatusITs);
void HAL_FDCAN_ErrorStatusCallback(FDCAN_HandleTypeDef *hfdcan, uint32_t ErrorStatusITs) {
    bsp_fdcan_hal_error_cb(hfdcan, ErrorStatusITs);
}

/* UART RX 事件回调 → bsp_uart */
extern void bsp_uart_hal_rx_event(UART_HandleTypeDef *huart, uint16_t size);
void HAL_UARTEx_RxEventCallback(UART_HandleTypeDef *huart, uint16_t size) {
    bsp_uart_hal_rx_event(huart, size);
}

/* UART TX 完成回调 → bsp_uart */
extern void bsp_uart_hal_tx_done(UART_HandleTypeDef *huart);
void HAL_UART_TxCpltCallback(UART_HandleTypeDef *huart) {
    bsp_uart_hal_tx_done(huart);
}

#endif /* !USE_LEGACY_MAIN */

/* USER CODE END 4 */

 /* MPU Configuration */

void MPU_Config(void)
{
  MPU_Region_InitTypeDef MPU_InitStruct = {0};

  /* Disables the MPU */
  HAL_MPU_Disable();

  /** Initializes and configures the Region and the memory to be protected
  */
  MPU_InitStruct.Enable = MPU_REGION_ENABLE;
  MPU_InitStruct.Number = MPU_REGION_NUMBER0;
  MPU_InitStruct.BaseAddress = 0x0;
  MPU_InitStruct.Size = MPU_REGION_SIZE_4GB;
  MPU_InitStruct.SubRegionDisable = 0x87;
  MPU_InitStruct.TypeExtField = MPU_TEX_LEVEL0;
  MPU_InitStruct.AccessPermission = MPU_REGION_NO_ACCESS;
  MPU_InitStruct.DisableExec = MPU_INSTRUCTION_ACCESS_DISABLE;
  MPU_InitStruct.IsShareable = MPU_ACCESS_SHAREABLE;
  MPU_InitStruct.IsCacheable = MPU_ACCESS_NOT_CACHEABLE;
  MPU_InitStruct.IsBufferable = MPU_ACCESS_NOT_BUFFERABLE;

  HAL_MPU_ConfigRegion(&MPU_InitStruct);
  /* Enables the MPU */
  HAL_MPU_Enable(MPU_PRIVILEGED_DEFAULT);

}

void HAL_TIM_PeriodElapsedCallback(TIM_HandleTypeDef *htim)
{
  /* USER CODE BEGIN Callback 0 */
	// legacy 模式下用 TIM1 稳定发送 3508 电机指令；RTOS 模式只保留 HAL tick。
#if USE_LEGACY_MAIN
	  if (htim->Instance == TIM1)
	  {
		  send_current();
	  }
#endif
  /* USER CODE END Callback 0 */
  if (htim->Instance == TIM1)
  {
    HAL_IncTick();
  }
}

void Error_Handler(void)
{
  __disable_irq();
  while (1)
  {
  }
}

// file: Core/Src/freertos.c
/* USER CODE BEGIN Header */
/**
  ******************************************************************************
  * File Name          : freertos.c
  * Description        : Code for freertos applications
  ******************************************************************************
  * @attention
  *
  * Copyright (c) 2026 STMicroelectronics.
  * All rights reserved.
  *
  * This software is licensed under terms that can be found in the LICENSE file
  * in the root directory of this software component.
  * If no LICENSE file comes with this software, it is provided AS-IS.
  *
  ******************************************************************************
  */
/* USER CODE END Header */

#include "FreeRTOS.h"
#include "task.h"
#include "main.h"
#include "cmsis_os.h"

/* USER CODE BEGIN Includes */
#include "app_init.h"
#include "app_tasks.h"
/* USER CODE END Includes */

/* Definitions for defaultTask */
osThreadId_t defaultTaskHandle;
const osThreadAttr_t defaultTask_attributes = {
  .name = "defaultTask",
  /* MX_USB_DEVICE_Init() 会经过较深的 HAL/USB 调用链，512B 不足。 */
  .stack_size = 1024 * 4,
  .priority = (osPriority_t) osPriorityNormal,
};

void StartDefaultTask(void *argument);

void MX_FREERTOS_Init(void); /* (MISRA C 2004 rule 8.1) */

void MX_FREERTOS_Init(void) {

  /* Create the thread(s) */
  /* creation of defaultTask */
  defaultTaskHandle = osThreadNew(StartDefaultTask, NULL, &defaultTask_attributes);

  /* USER CODE BEGIN RTOS_THREADS */
  /*
   * app_init() runs in main.c before osKernelInitialize(); create threads here.
   * bsp_time_delay_ms() uses a DWT fallback while the kernel is ready but not
   * running, so migrated init code can still use short hardware settle delays.
   */
  app_tasks_create();
  /* USER CODE END RTOS_THREADS */

}

void StartDefaultTask(void *argument)
{
  for(;;)
  {
    osDelay(1);
  }
}
